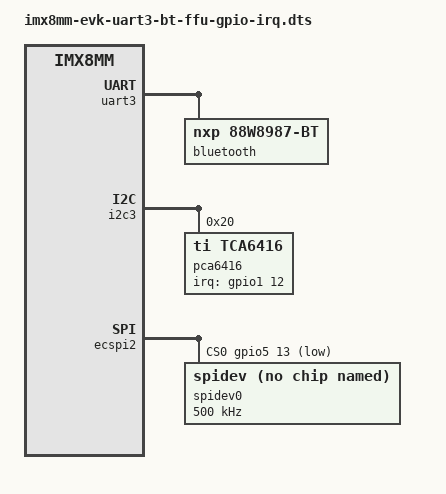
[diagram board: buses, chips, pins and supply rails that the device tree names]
// SPDX-License-Identifier: (GPL-2.0 OR MIT)
/*
 * Copyright 2024 NXP
 */

/dts-v1/;

#include "imx8mm-evk-usd-wifi.dts"

&uart1 {
        /delete-node/ bluetooth;
};

&uart3 {
        bluetooth {
                compatible = "nxp,88w8987-bt";
        };
};

&i2c3 {
	pca6416: gpio@20 {
		compatible = "ti,tca6416";
		reg = <0x20>;
		gpio-controller;
		#gpio-cells = <2>;
		interrupt-parent = <&gpio1>;
		interrupts = <12 IRQ_TYPE_EDGE_FALLING>;
		pinctrl-names = "default";
		pinctrl-0 = <&pinctrl_pca6416_irq>;
	};
};

&ecspi2 {
	#address-cells = <1>;
	#size-cells = <0>;
	fsl,spi-num-chipselects = <1>;
	pinctrl-names = "default";
	pinctrl-0 = <&pinctrl_espi2>;
	cs-gpios = <&gpio5 13 GPIO_ACTIVE_LOW>;
	status = "okay";

	spidev0: spi@0 {
		reg = <0>;
		compatible = "rohm,dh2228fv";
		spi-max-frequency = <500000>;
	};

};

&iomuxc {
	pinctrl_pca6416_irq: pca6416irq {
		fsl,pins = <
			MX8MM_IOMUXC_GPIO1_IO12_GPIO1_IO12		0x141
		>;
	};

	pinctrl_espi2: espi2grp {
		fsl,pins = <
			MX8MM_IOMUXC_ECSPI2_SCLK_ECSPI2_SCLK		0x082
			MX8MM_IOMUXC_ECSPI2_MOSI_ECSPI2_MOSI		0x082
			MX8MM_IOMUXC_ECSPI2_MISO_ECSPI2_MISO		0x082
			MX8MM_IOMUXC_ECSPI2_SS0_GPIO5_IO13		0x000
		>;
	};

	trusty {
		compatible = "android,trusty-smc-v1";
		ranges;
		#address-cells = <2>;
		#size-cells = <2>;
		trusty-irq {
			compatible = "android,trusty-irq-v1";
			interrupt-ranges = < 0 15 0>;
			ipi-range = <8 15 8>;
		};
		trusty-virtio {
			compatible = "android,trusty-virtio-v1";
		};
		trusty-log {
			compatible = "android,trusty-log-v1";
		};
	};
};
